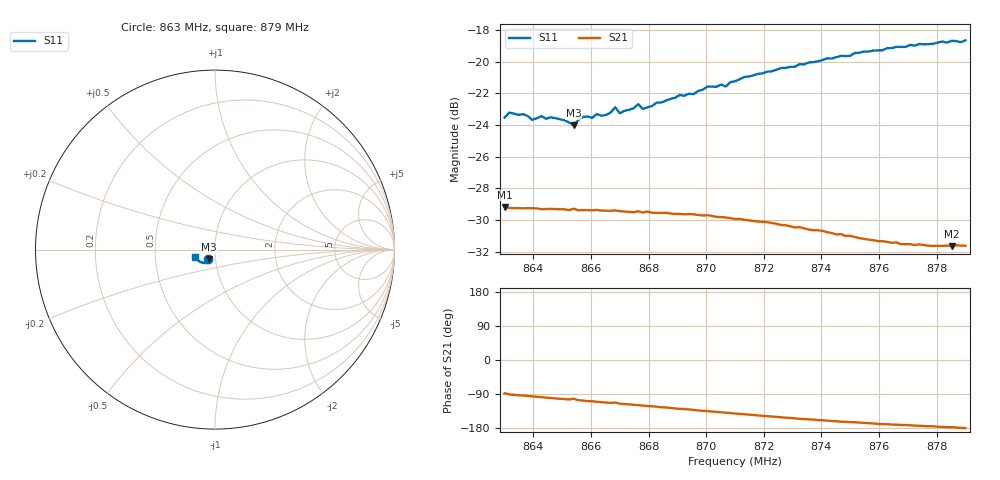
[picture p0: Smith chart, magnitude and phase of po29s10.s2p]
# HZ S RI R 50
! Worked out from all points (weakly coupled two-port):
!   101 points, 863 MHz to 879 MHz, reference 50 ohm
!   highest |S21| = -29.18 dB at 863 MHz (marker M1); lowest = -31.7 dB at 878.52 MHz (marker M2)
!   lowest |S11| = -24.0 dB at 865.4 MHz (marker M3), VSWR 1.13, Z = 46.6 - j5.06 ohm
!   |S11| at or under -10 dB: start of sweep to end of sweep
!   S12 and S22 are empty: the file has one direction only
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8.63e8  -0.0385 -0.0544  0.00147 -0.0347  0 0  0 0
8.6316e8  -0.0435 -0.0537  -0.000477 -0.0345  0 0  0 0
8.6364e8  -0.0415 -0.0543  -0.00224 -0.0343  0 0  0 0
8.6396e8  -0.0393 -0.0525  -0.00353 -0.0343  0 0  0 0
8.6428e8  -0.0387 -0.0552  -0.00488 -0.0338  0 0  0 0
8.654e8  -0.0322 -0.0541  -0.0072 -0.0335  0 0  0 0
8.6572e8  -0.0345 -0.0573  -0.00997 -0.0325  0 0  0 0
8.6652e8  -0.0342 -0.0587  -0.0128 -0.0313  0 0  0 0
8.6684e8  -0.0371 -0.0615  -0.0128 -0.0314  0 0  0 0
8.67e8  -0.0347 -0.0593  -0.0144 -0.0305  0 0  0 0
8.6764e8  -0.0364 -0.0638  -0.0165 -0.0294  0 0  0 0
8.678e8  -0.0346 -0.0619  -0.0168 -0.0288  0 0  0 0
8.6844e8  -0.0366 -0.0647  -0.0189 -0.0273  0 0  0 0
8.6908e8  -0.039 -0.0681  -0.0207 -0.0257  0 0  0 0
8.6956e8  -0.0397 -0.0684  -0.0219 -0.0246  0 0  0 0
8.7004e8  -0.0431 -0.0715  -0.023 -0.0232  0 0  0 0
8.7068e8  -0.0436 -0.0713  -0.0243 -0.0211  0 0  0 0
8.71e8  -0.0474 -0.0727  -0.0249 -0.0199  0 0  0 0
8.7372e8  -0.0667 -0.0742  -0.027 -0.0114  0 0  0 0
8.7644e8  -0.0915 -0.062  -0.0264 -0.00453  0 0  0 0
8.7852e8  -0.1073 -0.0454  -0.0261 -0.00122  0 0  0 0
8.79e8  -0.1101 -0.0391  -0.0262 -0.000168  0 0  0 0
